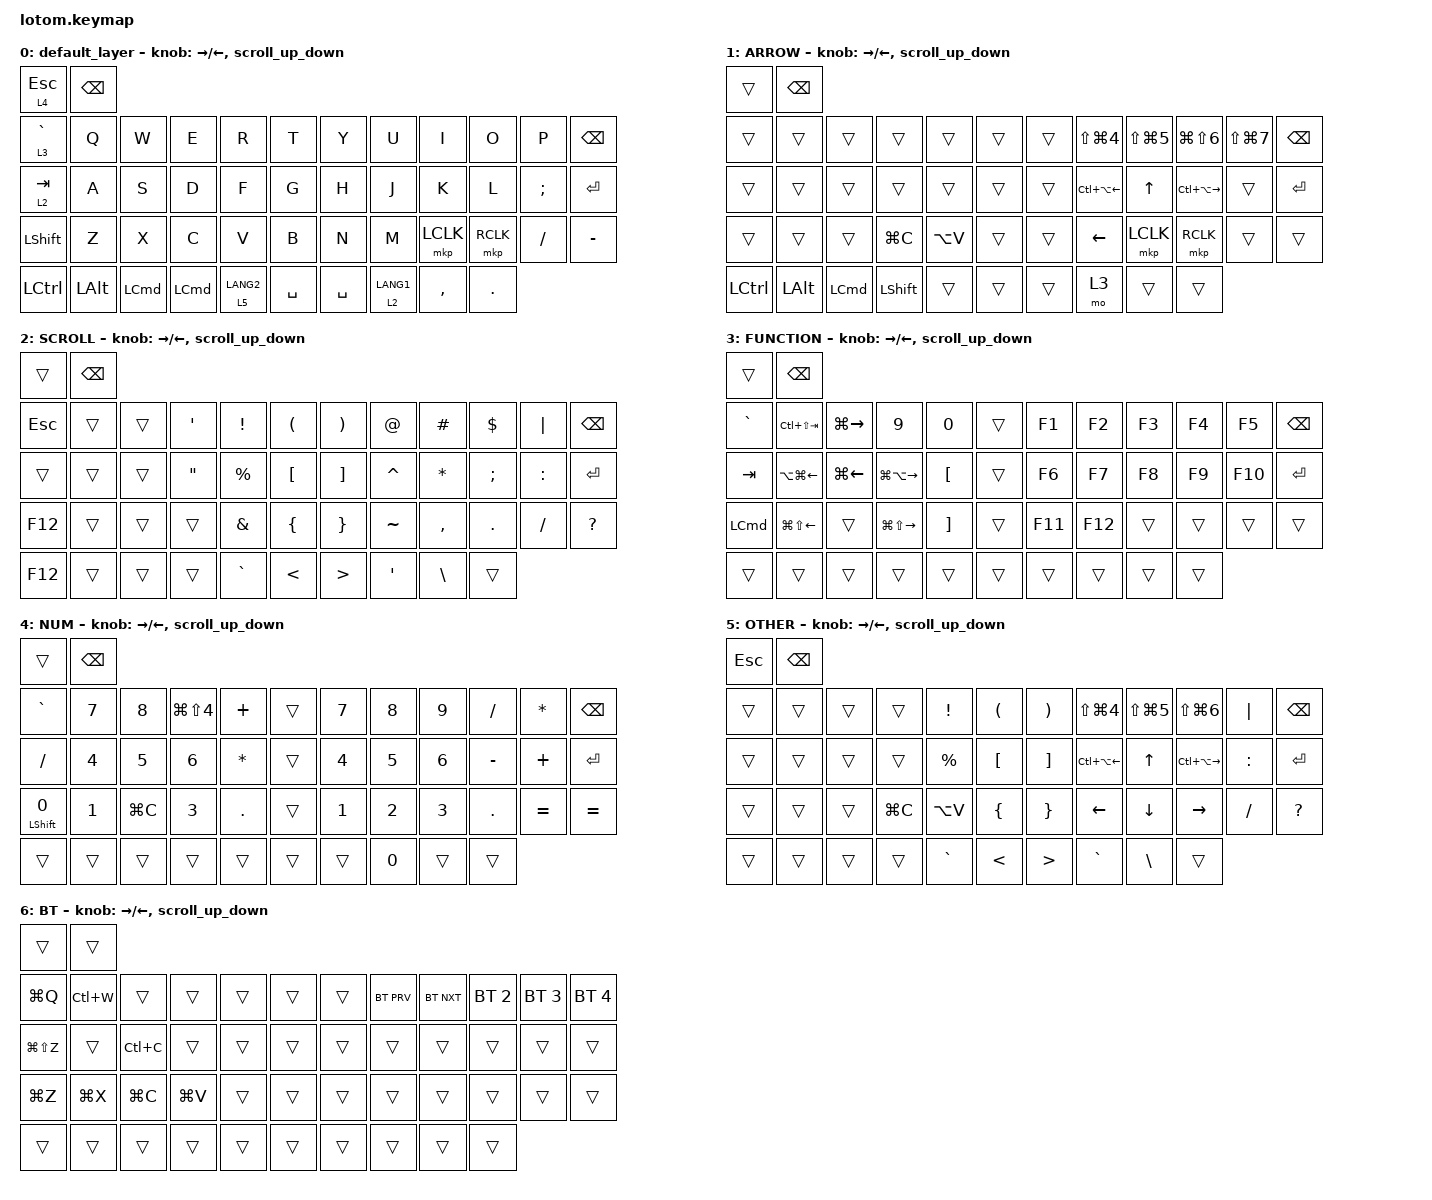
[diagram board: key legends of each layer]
#include <behaviors.dtsi>
#include <dt-bindings/zmk/bt.h>
#include <dt-bindings/zmk/keys.h>
#include <dt-bindings/zmk/pointing.h>

#define ZMK_POINTING_DEFAULT_SCRL_VAL 80

/ {
    behaviors {
        scroll_up_down: behavior_sensor_rotate_mouse_wheel_up_down {
            compatible = "zmk,behavior-sensor-rotate";
            label = "ENCODER_MSC_DOWN_UP";
            #sensor-binding-cells = <0>;
            bindings = <&msc SCRL_DOWN>, <&msc SCRL_UP>;

            tap-ms = <20>;
        };

        tab_slide: behavior_sensor_rotate_tab_slide {
            compatible = "zmk,behavior-sensor-rotate";
            label = "ENCODER_TAB_SLIDE";
            #sensor-binding-cells = <0>;
            bindings = <&kp LA(LG(RIGHT_ARROW))>, <&kp LA(LG(LEFT_ARROW))>;

            tap-ms = <20>;
        };
    };

    keymap {
        compatible = "zmk,keymap";

        default_layer {
            bindings = <
&lt 4 ESCAPE    &kp BACKSPACE
&lt 3 GRAVE     &kp Q          &kp W             &kp E             &kp R        &kp T      &kp Y      &kp U        &kp I      &kp O       &kp P          &kp BACKSPACE
&lt 2 TAB       &kp A          &kp S             &kp D             &kp F        &kp G      &kp H      &kp J        &kp K      &kp L       &kp SEMICOLON  &kp ENTER
&kp LEFT_SHIFT  &kp Z          &kp X             &kp C             &kp V        &kp B      &kp N      &kp M        &mkp LCLK  &mkp RCLK   &kp SLASH      &kp MINUS
&kp LCTRL       &kp LEFT_ALT   &kp LEFT_COMMAND  &kp LEFT_COMMAND  &lt 5 LANG2  &kp SPACE  &kp SPACE  &lt 2 LANG1  &kp COMMA  &kp PERIOD
            >;

            sensor-bindings = <
                &inc_dec_kp RIGHT_ARROW LEFT_ARROW
                &scroll_up_down
            >;
        };

        ARROW {
            bindings = <
&trans     &kp BACKSPACE
&trans     &trans         &trans            &trans          &trans     &trans  &trans  &kp LS(LG(NUMBER_4))    &kp LS(LG(N5))  &kp LG(LS(NUMBER_6))     &kp LS(LG(N7))  &kp BACKSPACE
&trans     &trans         &trans            &trans          &trans     &trans  &trans  &kp LC(LA(LEFT_ARROW))  &kp UP_ARROW    &kp LC(LA(RIGHT_ARROW))  &trans          &kp ENTER
&trans     &trans         &trans            &kp LG(C)       &kp LA(V)  &trans  &trans  &kp LEFT_ARROW          &mkp LCLK       &mkp RCLK                &trans          &trans
&kp LCTRL  &kp LEFT_ALT   &kp LEFT_COMMAND  &kp LEFT_SHIFT  &trans     &trans  &trans  &mo 3                   &trans          &trans
            >;

            sensor-bindings = <
                &inc_dec_kp RIGHT_ARROW LEFT_ARROW
                &scroll_up_down
            >;
        };

        SCROLL {
            bindings = <
&trans      &kp BACKSPACE
&kp ESCAPE  &trans         &trans  &kp SINGLE_QUOTE   &kp EXCLAMATION  &kp LEFT_PARENTHESIS  &kp RIGHT_PARENTHESIS  &kp AT_SIGN       &kp HASH       &kp DOLLAR     &kp PIPE   &kp BACKSPACE
&trans      &trans         &trans  &kp DOUBLE_QUOTES  &kp PERCENT      &kp LEFT_BRACKET      &kp RIGHT_BRACKET      &kp CARET         &kp ASTERISK   &kp SEMICOLON  &kp COLON  &kp ENTER
&kp F12     &trans         &trans  &trans             &kp AMPERSAND    &kp LEFT_BRACE        &kp RIGHT_BRACE        &kp TILDE         &kp COMMA      &kp PERIOD     &kp SLASH  &kp QUESTION
&kp F12     &trans         &trans  &trans             &kp GRAVE        &kp LESS_THAN         &kp GREATER_THAN       &kp SINGLE_QUOTE  &kp BACKSLASH  &trans
            >;

            sensor-bindings = <
                &inc_dec_kp RIGHT_ARROW LEFT_ARROW
                &scroll_up_down
            >;
        };

        FUNCTION {
            bindings = <
&trans     &kp BACKSPACE
&kp GRAVE  &kp LC(LS(TAB))         &kp LG(RIGHT)  &kp NUMBER_9             &kp NUMBER_0       &trans  &kp F1   &kp F2   &kp F3  &kp F4  &kp F5   &kp BACKSPACE
&kp TAB    &kp LA(LG(LEFT_ARROW))  &kp LG(LEFT)   &kp LG(LA(RIGHT_ARROW))  &kp LEFT_BRACKET   &trans  &kp F6   &kp F7   &kp F8  &kp F9  &kp F10  &kp ENTER
&kp LCMD   &kp LG(LS(LEFT_ARROW))  &trans         &kp LG(LS(RIGHT_ARROW))  &kp RIGHT_BRACKET  &trans  &kp F11  &kp F12  &trans  &trans  &trans   &trans
&trans     &trans                  &trans         &trans                   &trans             &trans  &trans   &trans   &trans  &trans
            >;

            sensor-bindings = <
                &inc_dec_kp RIGHT_ARROW LEFT_ARROW
                &scroll_up_down
            >;
        };

        NUM {
            bindings = <
&trans                   &kp BACKSPACE
&kp GRAVE                &kp NUMBER_7   &kp NUMBER_8  &kp LG(LS(NUMBER_4))  &kp PLUS      &trans  &kp N7        &kp N8        &kp N9        &kp SLASH   &kp ASTERISK  &kp BACKSPACE
&kp SLASH                &kp NUMBER_4   &kp NUMBER_5  &kp NUMBER_6          &kp ASTERISK  &trans  &kp NUMBER_4  &kp N5        &kp NUMBER_6  &kp MINUS   &kp PLUS      &kp ENTER
&mt LEFT_SHIFT NUMBER_0  &kp NUMBER_1   &kp LG(C)     &kp NUMBER_3          &kp PERIOD    &trans  &kp NUMBER_1  &kp NUMBER_2  &kp NUMBER_3  &kp PERIOD  &kp EQUAL     &kp EQUAL
&trans                   &trans         &trans        &trans                &trans        &trans  &trans        &kp NUMBER_0  &trans        &trans
            >;

            sensor-bindings = <
                &inc_dec_kp RIGHT_ARROW LEFT_ARROW
                &scroll_up_down
            >;
        };

        OTHER {
            bindings = <
&kp ESC  &kp BACKSPACE
&trans   &trans         &trans  &trans     &kp EXCLAMATION  &kp LEFT_PARENTHESIS  &kp RIGHT_PARENTHESIS  &kp LS(LG(NUMBER_4))    &kp LS(LG(N5))  &kp LS(LG(NUMBER_6))     &kp PIPE   &kp BACKSPACE
&trans   &trans         &trans  &trans     &kp PERCENT      &kp LEFT_BRACKET      &kp RIGHT_BRACKET      &kp LC(LA(LEFT_ARROW))  &kp UP_ARROW    &kp LC(LA(RIGHT_ARROW))  &kp COLON  &kp ENTER
&trans   &trans         &trans  &kp LG(C)  &kp LA(V)        &kp LEFT_BRACE        &kp RIGHT_BRACE        &kp LEFT_ARROW          &kp DOWN_ARROW  &kp RIGHT_ARROW          &kp SLASH  &kp QUESTION
&trans   &trans         &trans  &trans     &kp GRAVE        &kp LESS_THAN         &kp GREATER_THAN       &kp GRAVE               &kp BACKSLASH   &trans
            >;

            sensor-bindings = <
                &inc_dec_kp RIGHT_ARROW LEFT_ARROW
                &scroll_up_down
            >;
        };

        BT {
            bindings = <
&trans         &trans
&kp LG(Q)      &kp LC(W)  &trans     &trans     &trans  &trans  &trans  &bt BT_PRV  &bt BT_NXT  &bt BT_SEL 2  &bt BT_SEL 3  &bt BT_SEL 4
&kp LG(LS(Z))  &trans     &kp LC(C)  &trans     &trans  &trans  &trans  &trans      &trans      &trans        &trans        &trans
&kp LG(Z)      &kp LG(X)  &kp LG(C)  &kp LG(V)  &trans  &trans  &trans  &trans      &trans      &trans        &trans        &trans
&trans         &trans     &trans     &trans     &trans  &trans  &trans  &trans      &trans      &trans
            >;

            sensor-bindings = <
                &inc_dec_kp RIGHT_ARROW LEFT_ARROW
                &scroll_up_down
            >;
        };
    };
};
